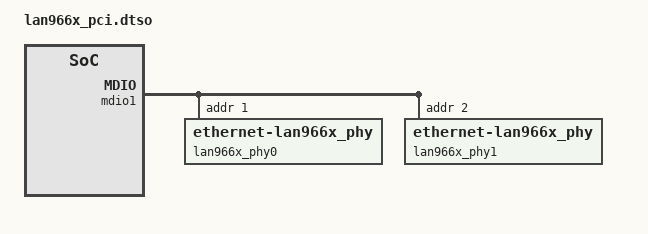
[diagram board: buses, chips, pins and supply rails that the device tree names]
// SPDX-License-Identifier: GPL-2.0
/*
 * Copyright (C) 2022 Microchip UNG
 */

#include <dt-bindings/clock/microchip,lan966x.h>
#include <dt-bindings/gpio/gpio.h>
#include <dt-bindings/interrupt-controller/irq.h>
#include <dt-bindings/mfd/atmel-flexcom.h>
#include <dt-bindings/phy/phy-lan966x-serdes.h>

/dts-v1/;
/plugin/;

/ {
	fragment@0 {
		target-path = "";

		/*
		 * These properties allow to avoid a dtc warnings.
		 * The real interrupt controller is the PCI device itself. It
		 * is the node on which the device tree overlay will be applied.
		 * This node has those properties.
		 */
		#interrupt-cells = <1>;
		interrupt-controller;

		__overlay__ {
			#address-cells = <3>;
			#size-cells = <2>;

			cpu_clk: clock-600000000 {
				compatible = "fixed-clock";
				#clock-cells = <0>;
				clock-frequency = <600000000>;  /* CPU clock = 600MHz */
			};

			ddr_clk: clock-30000000 {
				compatible = "fixed-clock";
				#clock-cells = <0>;
				clock-frequency = <30000000>;  /* Fabric clock = 30MHz */
			};

			sys_clk: clock-15625000 {
				compatible = "fixed-clock";
				#clock-cells = <0>;
				clock-frequency = <15625000>;  /* System clock = 15.625MHz */
			};

			pci-ep-bus@0 {
				compatible = "simple-bus";
				#address-cells = <1>;
				#size-cells = <1>;

				/*
				 * map @0xe2000000 (32MB) to BAR0 (CPU)
				 * map @0xe0000000 (16MB) to BAR1 (AMBA)
				 */
				ranges = <0xe2000000 0x00 0x00 0x00 0x2000000
				          0xe0000000 0x01 0x00 0x00 0x1000000>;

				oic: oic@e00c0120 {
					compatible = "microchip,lan966x-oic";
					#interrupt-cells = <2>;
					interrupt-controller;
					interrupts = <0>; /* PCI INTx assigned interrupt */
					reg = <0xe00c0120 0x190>;
				};

				cpu_ctrl: syscon@e00c0000 {
					compatible = "microchip,lan966x-cpu-syscon", "syscon";
					reg = <0xe00c0000 0xa8>;
				};

				reset: reset@e200400c {
					compatible = "microchip,lan966x-switch-reset";
					reg = <0xe200400c 0x4>, <0xe00c0000 0xa8>;
					reg-names = "gcb","cpu";
					#reset-cells = <1>;
					cpu-syscon = <&cpu_ctrl>;
				};

				gpio: pinctrl@e2004064 {
					compatible = "microchip,lan966x-pinctrl";
					reg = <0xe2004064 0xb4>,
					      <0xe2010024 0x138>;
					resets = <&reset 0>;
					reset-names = "switch";
					gpio-controller;
					#gpio-cells = <2>;
					gpio-ranges = <&gpio 0 0 78>;
					interrupt-parent = <&oic>;
					interrupt-controller;
					interrupts = <17 IRQ_TYPE_LEVEL_HIGH>;
					#interrupt-cells = <2>;

					tod_pins: tod_pins {
						pins = "GPIO_36";
						function = "ptpsync_1";
					};

					fc0_a_pins: fcb4-i2c-pins {
						/* RXD, TXD */
						pins = "GPIO_9", "GPIO_10";
						function = "fc0_a";
					};

				};

				serdes: serdes@e202c000 {
					compatible = "microchip,lan966x-serdes";
					reg = <0xe202c000 0x9c>,
					      <0xe2004010 0x4>;
					#phy-cells = <2>;
				};

				mdio1: mdio@e200413c {
					#address-cells = <1>;
					#size-cells = <0>;
					compatible = "microchip,lan966x-miim";
					reg = <0xe200413c 0x24>,
					      <0xe2010020 0x4>;

					resets = <&reset 0>;
					reset-names = "switch";

					lan966x_phy0: ethernet-lan966x_phy@1 {
						reg = <1>;
					};

					lan966x_phy1: ethernet-lan966x_phy@2 {
						reg = <2>;
					};
				};

				switch: switch@e0000000 {
					compatible = "microchip,lan966x-switch";
					reg = <0xe0000000 0x0100000>,
					      <0xe2000000 0x0800000>;
					reg-names = "cpu", "gcb";

					interrupt-parent = <&oic>;
					interrupts = <12 IRQ_TYPE_LEVEL_HIGH>,
						     <9 IRQ_TYPE_LEVEL_HIGH>;
					interrupt-names = "xtr", "ana";

					resets = <&reset 0>;
					reset-names = "switch";

					pinctrl-names = "default";
					pinctrl-0 = <&tod_pins>;

					ethernet-ports {
						#address-cells = <1>;
						#size-cells = <0>;

						port0: port@0 {
							phy-handle = <&lan966x_phy0>;

							reg = <0>;
							phy-mode = "gmii";
							phys = <&serdes 0 CU(0)>;
						};

						port1: port@1 {
							phy-handle = <&lan966x_phy1>;

							reg = <1>;
							phy-mode = "gmii";
							phys = <&serdes 1 CU(1)>;
						};
					};
				};
			};
		};
	};
};
